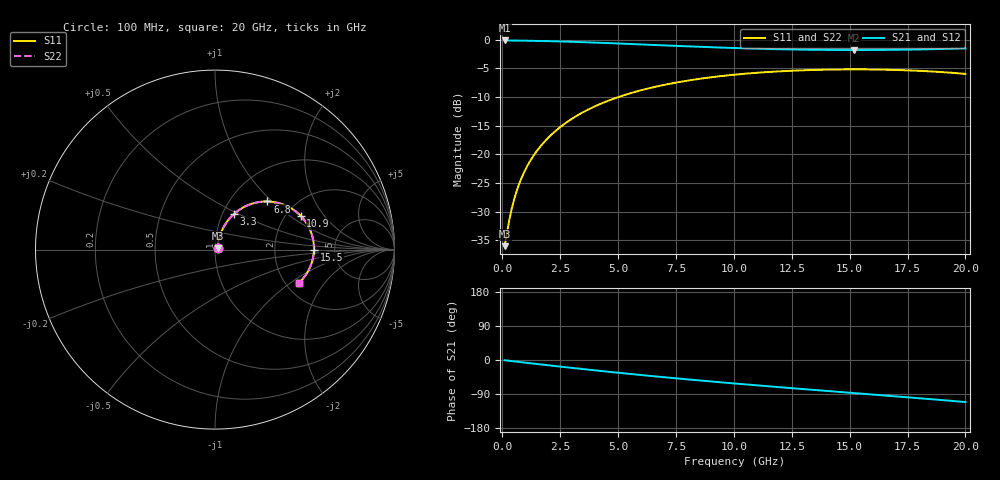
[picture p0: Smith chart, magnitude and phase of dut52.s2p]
! Touchstone file exported from HFSS 2026.1.0
!  File:  C:/ffzhzh/LocalFiles/Ansys_Project_Files/temp_train_TSV_RDL_52_1782967215_45568.aedt
!  Generated:  12:50:25 PM Jul  2, 2026
!  Design:  TSV_RDL
!  Project:  temp_train_TSV_RDL_52_1782967215_45568
! Variables:
!  h_bsmrdl = 5.39um
!  h_ox = 20um
!  h_rdl = 5um
!  h_sub = 57.95um
!  h_tmrdl = 2.05um
!  h_tsv = 57.95um
!  h_via = 3um
!  l_bsmrdl = 213.03um
!  l_sub = 2003.51um
!  l_tmrdl = 218.2um
!  m_sub = 200um
!  pitch = 41.59um
!  r_tsv = 6.26um
!  s_tmrdl = 10um
!  w_bsmrdl = 12.55um
!  w_sub = 500um
!  w_tmrdl = 17.99um
!  x_tsv_center1 = 227.195um
!  x_tsv_center2 = 452.775um
!  x_tsv_center3 = 688.965um
!  x_tsv_center4 = 914.545um
!  x_tsv_center5 = 1150.735um
!  x_tsv_center6 = 1376.315um
# GHz S MA R 50.000000
! Terminal data exported
! Port[1] = TM_RDL1_1_T1
! Port[2] = TM_RDL5_1_T1
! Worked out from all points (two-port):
!   200 points, 100 MHz to 20 GHz, reference 50 ohm
!   highest |S21| = -0.12 dB at 100 MHz (marker M1); lowest = -1.8 dB at 15.2 GHz (marker M2)
!   |S21| within 3 dB of the highest: start of sweep to end of sweep
!   lowest |S11| = -36.0 dB at 100 MHz (marker M3), VSWR 1.03, Z = 51.4 + j0.758 ohm
!   |S11| at or under -10 dB: start of sweep to 5.012 GHz
!   |S22| runs from -36.0 to -5.2 dB; largest |S21 - S12| = 1.3e-13
!   S11 on the Smith chart (normalised r, x): 100 MHz: 1.03, +0.02; 3.3 GHz: 1.13, +0.47; 6.8 GHz: 1.47, +0.94; 10.9 GHz: 2.39, +1.22; 15.5 GHz: 3.46, -0.01; 20 GHz: 2.36, -1.17
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0.1  0.0158 27.8  0.9861 -0.7  0.9861 -0.7  0.0158 27.8
! Gamma 0 0 0 0
! Port Impedance 50 0 50 0
0.3  0.02659 55.1  0.9854 -2.2  0.9854 -2.2  0.02659 55.1
0.5  0.03969 64.3  0.9844 -3.6  0.9844 -3.6  0.03969 64.3
0.6  0.04643 66.6  0.9839 -4.3  0.9839 -4.3  0.04643 66.6
0.8  0.06003 69.2  0.9827 -5.7  0.9827 -5.7  0.06003 69.2
1.1  0.08047 70.5  0.9806 -7.8  0.9806 -7.8  0.08047 70.5
1.5  0.1075 70.3  0.9773 -10.6  0.9773 -10.6  0.1075 70.3
2  0.1407 68.7  0.9724 -14.0  0.9724 -14.0  0.1407 68.7
2.6  0.1792 65.9  0.9653 -18.1  0.9653 -18.1  0.1792 65.9
3.3  0.2221 62.2  0.9556 -22.8  0.9556 -22.8  0.2221 62.2
3.5  0.2339 61.1  0.9526 -24.1  0.9526 -24.1  0.2339 61.1
5  0.3156 52.6  0.928 -33.6  0.928 -33.6  0.3156 52.6
6.8  0.3965 42.5  0.8964 -44.4  0.8964 -44.4  0.3965 42.5
8.4  0.4527 34.0  0.8699 -53.4  0.8699 -53.4  0.4527 34.0
10.1  0.4973 25.4  0.846 -62.4  0.846 -62.4  0.4973 25.4
10.9  0.5133 21.4  0.8367 -66.4  0.8367 -66.4  0.5133 21.4
13.4  0.545 9.6  0.8174 -78.7  0.8174 -78.7  0.545 9.6
15.2  0.5515 1.2  0.8132 -87.3  0.8132 -87.3  0.5516 1.2
15.5  0.5514 -0.1  0.8133 -88.8  0.8133 -88.8  0.5514 -0.1
16.7  0.5471 -5.7  0.816 -94.5  0.816 -94.5  0.5471 -5.7
18.3  0.532 -13.2  0.8251 -102.3  0.8251 -102.3  0.532 -13.2
20  0.5038 -21.4  0.8413 -110.9  0.8413 -110.9  0.5038 -21.4
